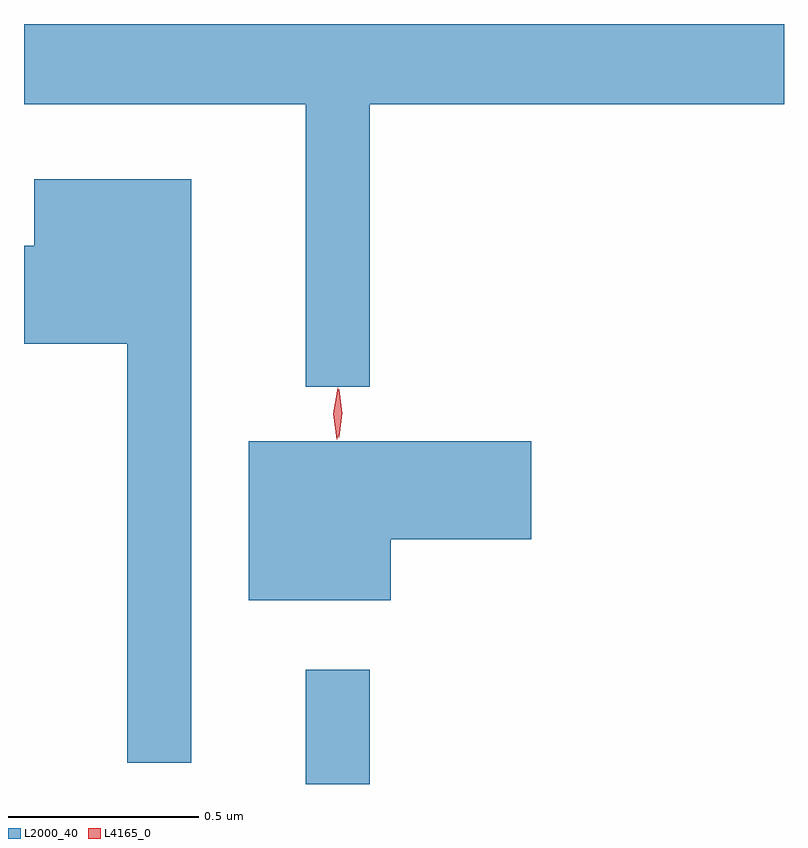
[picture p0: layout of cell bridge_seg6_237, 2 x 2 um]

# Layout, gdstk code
import gdstk
lib = gdstk.Library(unit=1e-6, precision=1e-09)
def R(c, l, rs):  # rectangles x0, y0, x1, y1
    for r in rs: c.add(gdstk.rectangle(r[:2], r[2:], *l))
def P(c, l, *ps):  # polygons
    for p in ps: c.add(gdstk.Polygon(p, *l))
L2000_40 = (2000, 40)
L4165_0 = (4165, 0)

bridge_seg6_237 = lib.new_cell('bridge_seg6_237')
R(bridge_seg6_237, L2000_40, [(1135.831,1543.807,1135.999,1544.108)])
P(bridge_seg6_237, L2000_40, [(1135.999,1545.596),(1137.089,1545.596),(1137.089,1545.807),(1135.089,1545.807),(1135.089,1545.596),(1135.831,1545.596),(1135.831,1544.853),(1135.999,1544.853)],
  [(1135.529,1545.399),(1135.116,1545.399),(1135.116,1545.224),(1135.089,1545.224),(1135.089,1544.966),(1135.361,1544.966),(1135.361,1543.863),(1135.529,1543.863)],
  [(1136.054,1544.451),(1136.424,1544.451),(1136.424,1544.709),(1135.681,1544.709),(1135.681,1544.291),(1136.054,1544.291)])
P(bridge_seg6_237, L4165_0, [(1135.912,1544.714),(1135.912,1544.714),(1135.903,1544.782),(1135.914,1544.85),(1135.914,1544.85),(1135.914,1544.85),(1135.923,1544.782),(1135.913,1544.714)],
  [(1135.917,1544.72),(1135.917,1544.72),(1135.907,1544.783),(1135.917,1544.846),(1135.917,1544.847),(1135.918,1544.846),(1135.927,1544.783),(1135.918,1544.72)])

lib.write_gds('bridge_seg6_237.gds')
